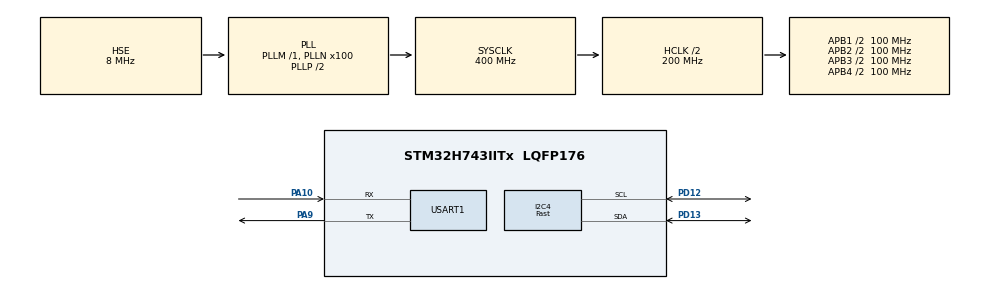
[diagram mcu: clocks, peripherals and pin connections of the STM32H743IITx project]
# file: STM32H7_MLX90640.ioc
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I2C4.CustomTiming=Enabled
I2C4.I2C_Speed_Mode=I2C_Fast
I2C4.Timing=0x009034B6
Mcu.Family=STM32H7
Mcu.Name=STM32H743IITx
Mcu.Package=LQFP176
NVIC.PriorityGroup=NVIC_PRIORITYGROUP_4
PA10.Mode=Asynchronous
PA10.Signal=USART1_RX
PA9.Mode=Asynchronous
PA9.Signal=USART1_TX
PD12.GPIO_PuPd=GPIO_PULLUP
PD12.GPIO_Speed=GPIO_SPEED_FREQ_VERY_HIGH
PD12.Mode=I2C
PD12.Signal=I2C4_SCL
PD13.GPIO_PuPd=GPIO_PULLUP
PD13.GPIO_Speed=GPIO_SPEED_FREQ_VERY_HIGH
PD13.Mode=I2C
PD13.Signal=I2C4_SDA
PH0-OSC_IN\ (PH0).Mode=HSE-External-Oscillator
PH0-OSC_IN\ (PH0).Signal=RCC_OSC_IN
PH1-OSC_OUT\ (PH1).Mode=HSE-External-Oscillator
PH1-OSC_OUT\ (PH1).Signal=RCC_OSC_OUT
ProjectManager.HeapSize=0x200
ProjectManager.StackSize=0x400
ProjectManager.TargetToolchain=MDK-ARM V5.27
RCC.ADCFreq_Value=16125000
RCC.APB1Freq_Value=100000000
RCC.APB2Freq_Value=100000000
RCC.APB3Freq_Value=100000000
RCC.APB4Freq_Value=100000000
RCC.CortexFreq_Value=400000000
RCC.D1PPRE=RCC_APB3_DIV2
RCC.D2PPRE1=RCC_APB1_DIV2
RCC.D2PPRE2=RCC_APB2_DIV2
RCC.D3PPRE=RCC_APB4_DIV2
RCC.DIVM1=1
RCC.DIVN1=100
RCC.HCLKFreq_Value=200000000
RCC.HPRE=RCC_HCLK_DIV2
RCC.HSE_VALUE=8000000
RCC.PLL2FRACN=0
RCC.PLL3FRACN=0
RCC.PLLFRACN=0
RCC.PLLSourceVirtual=RCC_PLLSOURCE_HSE
RCC.SYSCLKFreq_VALUE=400000000
RCC.SYSCLKSource=RCC_SYSCLKSOURCE_PLLCLK
RCC.USBFreq_Value=400000000
USART1.VirtualMode-Asynchronous=VM_ASYNC
board=custom

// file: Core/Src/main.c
/* USER CODE BEGIN Header */
/**
  ******************************************************************************
  * @file           : main.c
  * @brief          : Main program body
  ******************************************************************************
  * @attention
  *
  * <h2><center>&copy; Copyright (c) 2020 STMicroelectronics.
  * All rights reserved.</center></h2>
  *
  * This software component is licensed by ST under BSD 3-Clause license,
  * the "License"; You may not use this file except in compliance with the
  * License. You may obtain a copy of the License at:
  *                        opensource.org/licenses/BSD-3-Clause
  *
  ******************************************************************************
  */
/* USER CODE END Header */
#include "main.h"
#include "i2c.h"
#include "usart.h"
#include "gpio.h"

/* USER CODE BEGIN Includes */
#include <stdio.h>
#include "MLX90640_API.h"
#include "MLX90640_I2C_Driver.h"
/* USER CODE END Includes */

/* USER CODE BEGIN PTD */
#define  FPS2HZ   0x02
#define  FPS4HZ   0x03
#define  FPS8HZ   0x04
#define  FPS16HZ  0x05
#define  FPS32HZ  0x06

#define  MLX90640_ADDR 0x33
#define	 RefreshRate FPS16HZ
#define  TA_SHIFT 8 //Default shift for MLX90640 in open air

static uint16_t eeMLX90640[832];
static float mlx90640To[768];
uint16_t frame[834];
float emissivity=0.95;
int status;
/* USER CODE END PTD */

void SystemClock_Config(void);

int main(void)
{

  /* MCU Configuration--------------------------------------------------------*/

  /* Reset of all peripherals, Initializes the Flash interface and the Systick. */
  HAL_Init();

  /* Configure the system clock */
  SystemClock_Config();

  /* Initialize all configured peripherals */
  MX_GPIO_Init();
  MX_USART1_UART_Init();
  MX_I2C4_Init();

  /* Infinite loop */
  /* USER CODE BEGIN WHILE */
	printf("this is a test of MLX90640\r\n");
	MLX90640_SetRefreshRate(MLX90640_ADDR, RefreshRate);
	MLX90640_SetChessMode(MLX90640_ADDR);
	paramsMLX90640 mlx90640;
  status = MLX90640_DumpEE(MLX90640_ADDR, eeMLX90640);
  if (status != 0) printf("\r\nload system parameters error with code:%d\r\n",status);
  status = MLX90640_ExtractParameters(eeMLX90640, &mlx90640);
  if (status != 0) printf("\r\nParameter extraction failed with error code:%d\r\n",status);

  while (1)
  {
    /* USER CODE END WHILE */

    /* USER CODE BEGIN 3 */
		printf("start\r\n");
		int status = MLX90640_GetFrameData(MLX90640_ADDR, frame);
		if (status < 0)
		{
			printf("GetFrame Error: %d\r\n",status);
		}
		float vdd = MLX90640_GetVdd(frame, &mlx90640);
		float Ta = MLX90640_GetTa(frame, &mlx90640);

		float tr = Ta - TA_SHIFT; //Reflected temperature based on the sensor ambient temperature
			printf("vdd:  %f Tr: %f\r\n",vdd,tr);
		MLX90640_BadPixelsCorrection((&mlx90640)->brokenPixels,mlx90640To, 1,&mlx90640);
		MLX90640_BadPixelsCorrection((&mlx90640)->outlierPixels,mlx90640To, 1,&mlx90640);
		MLX90640_CalculateTo(frame, &mlx90640, emissivity , tr, mlx90640To);
		printf("end\r\n");
		printf("\r\n==========================Waveshare==========================\r\n");
		for(int i = 0; i < 768; i++){
			if(i%32 == 0 && i != 0){
				printf("\r\n");
			}
			printf("%2.2f ",mlx90640To[i]);
		}
		printf("\r\n==========================Waveshare==========================\r\n");
  }
  /* USER CODE END 3 */
}

void SystemClock_Config(void)
{
  RCC_OscInitTypeDef RCC_OscInitStruct = {0};
  RCC_ClkInitTypeDef RCC_ClkInitStruct = {0};
  RCC_PeriphCLKInitTypeDef PeriphClkInitStruct = {0};

  /** Supply configuration update enable
  */
  HAL_PWREx_ConfigSupply(PWR_LDO_SUPPLY);
  /** Configure the main internal regulator output voltage
  */
  __HAL_PWR_VOLTAGESCALING_CONFIG(PWR_REGULATOR_VOLTAGE_SCALE1);

  while(!__HAL_PWR_GET_FLAG(PWR_FLAG_VOSRDY)) {}
  /** Initializes the RCC Oscillators according to the specified parameters
  * in the RCC_OscInitTypeDef structure.
  */
  RCC_OscInitStruct.OscillatorType = RCC_OSCILLATORTYPE_HSE;
  RCC_OscInitStruct.HSEState = RCC_HSE_ON;
  RCC_OscInitStruct.PLL.PLLState = RCC_PLL_ON;
  RCC_OscInitStruct.PLL.PLLSource = RCC_PLLSOURCE_HSE;
  RCC_OscInitStruct.PLL.PLLM = 1;
  RCC_OscInitStruct.PLL.PLLN = 100;
  RCC_OscInitStruct.PLL.PLLP = 2;
  RCC_OscInitStruct.PLL.PLLQ = 2;
  RCC_OscInitStruct.PLL.PLLR = 2;
  RCC_OscInitStruct.PLL.PLLRGE = RCC_PLL1VCIRANGE_3;
  RCC_OscInitStruct.PLL.PLLVCOSEL = RCC_PLL1VCOWIDE;
  RCC_OscInitStruct.PLL.PLLFRACN = 0;
  if (HAL_RCC_OscConfig(&RCC_OscInitStruct) != HAL_OK)
  {
    Error_Handler();
  }
  /** Initializes the CPU, AHB and APB buses clocks
  */
  RCC_ClkInitStruct.ClockType = RCC_CLOCKTYPE_HCLK|RCC_CLOCKTYPE_SYSCLK
                              |RCC_CLOCKTYPE_PCLK1|RCC_CLOCKTYPE_PCLK2
                              |RCC_CLOCKTYPE_D3PCLK1|RCC_CLOCKTYPE_D1PCLK1;
  RCC_ClkInitStruct.SYSCLKSource = RCC_SYSCLKSOURCE_PLLCLK;
  RCC_ClkInitStruct.SYSCLKDivider = RCC_SYSCLK_DIV1;
  RCC_ClkInitStruct.AHBCLKDivider = RCC_HCLK_DIV2;
  RCC_ClkInitStruct.APB3CLKDivider = RCC_APB3_DIV2;
  RCC_ClkInitStruct.APB1CLKDivider = RCC_APB1_DIV2;
  RCC_ClkInitStruct.APB2CLKDivider = RCC_APB2_DIV2;
  RCC_ClkInitStruct.APB4CLKDivider = RCC_APB4_DIV2;

  if (HAL_RCC_ClockConfig(&RCC_ClkInitStruct, FLASH_LATENCY_2) != HAL_OK)
  {
    Error_Handler();
  }
  PeriphClkInitStruct.PeriphClockSelection = RCC_PERIPHCLK_USART1|RCC_PERIPHCLK_I2C4;
  PeriphClkInitStruct.Usart16ClockSelection = RCC_USART16CLKSOURCE_D2PCLK2;
  PeriphClkInitStruct.I2c4ClockSelection = RCC_I2C4CLKSOURCE_D3PCLK1;
  if (HAL_RCCEx_PeriphCLKConfig(&PeriphClkInitStruct) != HAL_OK)
  {
    Error_Handler();
  }
}

void Error_Handler(void)
{
}

/************************ (C) COPYRIGHT STMicroelectronics *****END OF FILE****/
